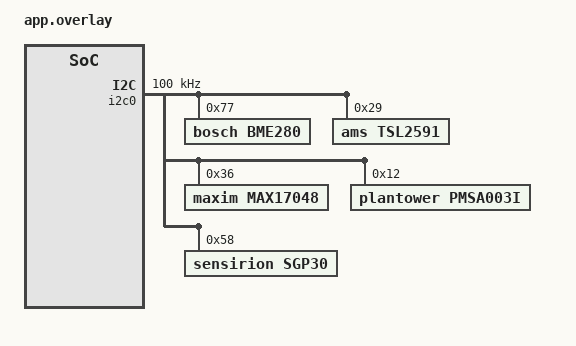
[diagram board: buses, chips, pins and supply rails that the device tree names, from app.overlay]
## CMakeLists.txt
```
# SPDX-License-Identifier: MIT
cmake_minimum_required(VERSION 3.20.0)

# This repo ships its own board (boards/adafruit/feather_esp32c6). Zephyr only
# looks under directories on BOARD_ROOT, and it does not add the application
# dir automatically — so register it here, before find_package(Zephyr).
list(APPEND BOARD_ROOT ${CMAKE_CURRENT_SOURCE_DIR})

find_package(Zephyr REQUIRED HINTS $ENV{ZEPHYR_BASE})
project(sensor_box LANGUAGES C)

target_sources(app PRIVATE src/main.c)
```

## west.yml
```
# West manifest for the sensor-box application (T3 "freestanding app" layout).
#
# This repo is the manifest repo. `west update` pulls Zephyr — and, via
# import, every module Zephyr itself needs — as sibling directories that are
# git-ignored here. Bump `revision` deliberately to move to a new Zephyr
# release; everything else follows from Zephyr's own manifest.
#
#   west init -l .
#   west update
#
manifest:
  version: "1.2"

  remotes:
    - name: upstream
      url-base: https://github.com/zephyrproject-rtos

  projects:
    - name: zephyr
      remote: upstream
      revision: v4.4.0
      # Pull in Zephyr's modules, but only the groups this app actually needs.
      import:
        name-allowlist:
          - cmsis                 # Cortex-M / RISC-V CMSIS headers
          - hal_espressif         # ESP32-C6 SoC HAL + Wi-Fi blobs
          - hal_nordic            # (harmless; some samples/bindings assume it)
          - lvgl                  # TFT UI
          - mcuboot               # bootloader (drop if not signing images)
          - nanopb
          - picolibc
          - segger                # RTT logging (optional but handy)
          - tinycrypt

  self:
    path: sensor-box
```

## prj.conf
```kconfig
# Application Kconfig — merged on top of the board's *_defconfig.

# Logging subsystem (LOG_INF / LOG_WRN / LOG_ERR), routed to the console.
CONFIG_LOG=y

# Print floating-point values with %f (sensor readings later).
CONFIG_CBPRINTF_FP_SUPPORT=y

# Main thread stack — bumped a little ahead of the sensor work to come.
CONFIG_MAIN_STACK_SIZE=4096

# I2C bus + sensor subsystem + drivers.
CONFIG_I2C=y
CONFIG_SENSOR=y
CONFIG_BME280=y
CONFIG_TSL2591=y

# Out-of-tree drivers (drivers/sensor/*).
CONFIG_PMSA003I=y
CONFIG_SGP30=y

# Fuel-gauge subsystem + the on-board MAX17048.
CONFIG_FUEL_GAUGE=y
CONFIG_MAX17048=y

# Fixed regulator driver — powers the STEMMA QT / I2C switch (IO20).
CONFIG_REGULATOR=y
CONFIG_REGULATOR_FIXED=y

# Interactive shell on the console, with I2C and sensor subcommands.
CONFIG_SHELL=y
CONFIG_I2C_SHELL=y
CONFIG_SENSOR_SHELL=y
```

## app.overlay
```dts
/*
 * Application devicetree overlay — devices on the STEMMA QT / Feather I2C bus.
 *
 * Zephyr picks up "app.overlay" from the application directory automatically
 * and merges it on top of the board devicetree. The board already sets i2c0
 * to "okay" with its pinctrl; here we just declare what's plugged into it.
 */

#include <zephyr/dt-bindings/i2c/i2c.h>

&i2c0 {
	/*
	 * Drop from the board default (Fast, 400 kHz) to Standard (100 kHz).
	 * Four devices daisy-chained on STEMMA QT cables add enough bus
	 * capacitance to cause intermittent -EFAULT at 400 kHz.
	 */
	clock-frequency = <I2C_BITRATE_STANDARD>;

	/* Adafruit BME280 breakout, default (secondary) address. */
	bme280: bme280@77 {
		compatible = "bosch,bme280";
		reg = <0x77>;
	};

	/* Adafruit TSL2591 high-dynamic-range light sensor. */
	tsl2591: tsl2591@29 {
		compatible = "ams,tsl2591";
		reg = <0x29>;
	};

	/* On-board MAX17048 LiPo fuel gauge (fuel-gauge API, not sensor API). */
	max17048: max17048@36 {
		compatible = "maxim,max17048";
		reg = <0x36>;
	};

	/* Adafruit PMSA003I particulate matter sensor (out-of-tree driver). */
	pmsa003i: pmsa003i@12 {
		compatible = "plantower,pmsa003i";
		reg = <0x12>;
	};

	/* Adafruit SGP30 eCO2 / TVOC sensor (out-of-tree driver). */
	sgp30: sgp30@58 {
		compatible = "sensirion,sgp30";
		reg = <0x58>;
	};
};
```

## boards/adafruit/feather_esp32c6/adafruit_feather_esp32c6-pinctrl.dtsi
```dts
/*
 * Copyright (c) 2026 Tim Boldt
 *
 * SPDX-License-Identifier: Apache-2.0
 *
 * Pin assignments taken from the Adafruit ESP32-C6 Feather pinout:
 *   https://learn.adafruit.com/adafruit-esp32-c6-feather/pinouts
 *
 *   STEMMA QT / I2C : SDA = IO19, SCL = IO18
 *   SPI header      : SCK = IO21, MOSI = IO22, MISO = IO23
 *   UART header     : TX  = IO16, RX   = IO17
 *
 * The ESP32-C6 routes every peripheral through the GPIO matrix, so these
 * SIGxx_GPIOyy macros just pick which pad each signal lands on.
 */

#include <zephyr/dt-bindings/pinctrl/esp-pinctrl-common.h>
#include <zephyr/dt-bindings/pinctrl/esp32c6-pinctrl.h>
#include <zephyr/dt-bindings/pinctrl/esp32c6-gpio-sigmap.h>

&pinctrl {
	uart1_default: uart1_default {
		group1 {
			pinmux = <UART1_TX_GPIO16>;
			output-high;
		};
		group2 {
			pinmux = <UART1_RX_GPIO17>;
			bias-pull-up;
		};
	};

	i2c0_default: i2c0_default {
		group1 {
			pinmux = <I2C0_SDA_GPIO19>,
				 <I2C0_SCL_GPIO18>;
			bias-pull-up;
			drive-open-drain;
			output-high;
		};
	};

	/*
	 * Chip-select is not muxed here: the TFT FeatherWing and the microSD
	 * slot each need their own GPIO CS (and the TFT a DC line), so the SPI
	 * controller node uses cs-gpios instead of a hardware CS pad.
	 */
	spim2_default: spim2_default {
		group1 {
			pinmux = <SPIM2_MISO_GPIO23>,
				 <SPIM2_SCLK_GPIO21>;
		};
		group2 {
			pinmux = <SPIM2_MOSI_GPIO22>;
			output-low;
		};
	};
};
```

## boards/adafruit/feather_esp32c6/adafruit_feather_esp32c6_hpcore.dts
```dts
/*
 * Copyright (c) 2026 Tim Boldt
 *
 * SPDX-License-Identifier: Apache-2.0
 */

/dts-v1/;

#include <espressif/esp32c6/esp32c6_wroom_n4.dtsi>
#include "adafruit_feather_esp32c6-pinctrl.dtsi"
#include "feather_connector.dtsi"
#include <zephyr/dt-bindings/input/input-event-codes.h>
#include <espressif/partitions_0x0_default.dtsi>

/ {
	model = "Adafruit Feather ESP32-C6 HP Core";
	compatible = "adafruit,feather-esp32c6", "espressif,esp32c6";

	chosen {
		zephyr,sram = &sramhp;
		/* Native USB-Serial/JTAG carries the console (plain USB-C cable). */
		zephyr,console = &usb_serial;
		zephyr,shell-uart = &usb_serial;
		zephyr,flash = &flash0;
		zephyr,code-partition = &slot0_partition;
		zephyr,ieee802154 = &ieee802154;
	};

	aliases {
		sw0 = &boot_button;
		led0 = &red_led;
		i2c-0 = &i2c0;
		watchdog0 = &wdt0;
	};

	leds {
		compatible = "gpio-leds";

		red_led: led_0 {
			gpios = <&gpio0 15 GPIO_ACTIVE_HIGH>;
			label = "Red LED (IO15)";
		};
	};

	gpio_keys {
		compatible = "gpio-keys";

		boot_button: button_0 {
			gpios = <&gpio0 9 (GPIO_PULL_UP | GPIO_ACTIVE_LOW)>;
			label = "BOOT / User button (IO9)";
			zephyr,code = <INPUT_KEY_0>;
		};
	};

	/*
	 * IO20 must be driven high to power the STEMMA QT connector and the
	 * on-board 5k SDA/SCL pull-ups (it also powers the NeoPixel). A fixed
	 * regulator with regulator-boot-on turns it on during init, before the
	 * I2C sensor drivers probe.
	 */
	i2c_pwr: regulator-i2c-pwr {
		compatible = "regulator-fixed";
		regulator-name = "i2c_pwr";
		enable-gpios = <&gpio0 20 GPIO_ACTIVE_HIGH>;
		regulator-boot-on;
		regulator-always-on;
	};
};

&usb_serial {
	status = "okay";
};

/* Feather header UART (TX=IO16 / RX=IO17). Not the console. */
&uart1 {
	status = "okay";
	current-speed = <115200>;
	pinctrl-0 = <&uart1_default>;
	pinctrl-names = "default";
};

&i2c0 {
	status = "okay";
	clock-frequency = <I2C_BITRATE_FAST>;
	pinctrl-0 = <&i2c0_default>;
	pinctrl-names = "default";
};

&spi2 {
	#address-cells = <1>;
	#size-cells = <0>;
	status = "okay";
	pinctrl-0 = <&spim2_default>;
	pinctrl-names = "default";
	/*
	 * The 2.4" TFT FeatherWing puts the ILI9341 and the microSD slot on
	 * this bus with separate GPIO chip-selects. Declare them in the
	 * application overlay, e.g.:
	 *   cs-gpios = <&gpio0 X GPIO_ACTIVE_LOW>,   // TFT_CS
	 *              <&gpio0 Y GPIO_ACTIVE_LOW>;   // SD_CS
	 */
};

&gpio0 {
	status = "okay";
};

&trng0 {
	status = "okay";
};

&wdt0 {
	status = "okay";
};

&wifi {
	status = "okay";
};

&ieee802154 {
	status = "okay";
};

&esp32_bt_hci {
	status = "okay";
};
```

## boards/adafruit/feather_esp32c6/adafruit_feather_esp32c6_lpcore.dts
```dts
/*
 * Copyright (c) 2026 Tim Boldt
 *
 * SPDX-License-Identifier: Apache-2.0
 */

/dts-v1/;

#include <espressif/esp32c6/esp32c6_lpcore_wroom_n4.dtsi>
#include <espressif/partitions_0x0_default.dtsi>

/ {
	model = "Adafruit Feather ESP32-C6 LP Core";
	compatible = "adafruit,feather-esp32c6", "espressif,esp32c6";

	chosen {
		zephyr,sram = &ulp_ram;
		zephyr,code-partition = &slot0_lpcore_partition;
	};
};
```

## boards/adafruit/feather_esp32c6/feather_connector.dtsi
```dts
/*
 * Copyright (c) 2026 Tim Boldt
 *
 * SPDX-License-Identifier: Apache-2.0
 *
 * Adafruit Feather header nexus for the ESP32-C6 Feather.
 *
 * CONFIRMED from https://learn.adafruit.com/adafruit-esp32-c6-feather/pinouts :
 *   SCK  = IO21   MOSI = IO22   MISO = IO23
 *   RX   = IO17   TX   = IO16
 *   SDA  = IO19   SCL  = IO18
 *   A2   = IO6    A3   = IO5    (A2 shares IO6, A3 shares IO5)
 *   IO9 shared by Boot button + on-board NeoPixel
 *   Other digital pads broken out: IO0, IO7, IO8, IO12, IO15
 *
 * TODO: A0, A1, A4, A5 and the D4/D5/D6/D10..D13 header positions are not
 * spelled out in the Adafruit text pinout. Fill the remaining gpio-map rows
 * from the PrettyPins diagram / schematic before relying on feather_header.
 * sensor-box itself only uses feather_i2c and feather_spi, which are complete.
 */

/ {
	feather_header: connector {
		compatible = "adafruit-feather-header";
		#gpio-cells = <2>;
		gpio-map-mask = <0xffffffff 0xffffffc0>;
		gpio-map-pass-thru = <0 0x3f>;
		gpio-map = <
			/*  0  A0 */	/* TODO */
			/*  1  A1 */	/* TODO */
			2 0 &gpio0 6 0		/* A2  */
			3 0 &gpio0 5 0		/* A3  */
			/*  4  A4 */	/* TODO */
			/*  5  A5 */	/* TODO */
			6 0 &gpio0 21 0		/* SCK  */
			7 0 &gpio0 22 0		/* MOSI */
			8 0 &gpio0 23 0		/* MISO */
			9 0 &gpio0 17 0		/* RX   */
			10 0 &gpio0 16 0	/* TX   */
			/* 11  D4 */	/* TODO */
			12 0 &gpio0 19 0	/* SDA  */
			13 0 &gpio0 18 0	/* SCL  */
			/* 14  D5 */	/* TODO */
			/* 15  D6 */	/* TODO */
			16 0 &gpio0 9 0		/* D9 (also Boot btn / NeoPixel) */
			/* 17  D10 */	/* TODO */
			/* 18  D11 */	/* TODO */
			/* 19  D12 */	/* TODO */
			/* 20  D13 */	/* TODO */
		>;
	};
};

feather_serial: &uart1 {};

feather_i2c: &i2c0 {};

feather_spi: &spi2 {};
```

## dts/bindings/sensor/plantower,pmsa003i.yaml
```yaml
# Copyright (c) 2026 Tim Boldt
# SPDX-License-Identifier: MIT

description: |
  Plantower PMSA003I laser particulate matter sensor (I2C interface).

  Reports PM1.0 / PM2.5 / PM10 mass concentration in ug/m^3 (both the
  CF=1 "standard particle" calibration and the atmospheric-environment
  calibration) plus particle counts per 0.1 L for six size bins.

compatible: "plantower,pmsa003i"

include: [sensor-device.yaml, i2c-device.yaml]
```

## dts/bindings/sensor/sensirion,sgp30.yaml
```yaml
# Copyright (c) 2026 Tim Boldt
# SPDX-License-Identifier: MIT

description: |
  Sensirion SGP30 indoor air quality sensor (eCO2 / TVOC).

  The driver drives the sensor at the datasheet-mandated 1 Hz cadence on
  its own and caches the latest reading; sensor_sample_fetch() is a no-op
  and sensor_channel_get() returns the cached eCO2 (SENSOR_CHAN_CO2, ppm)
  and TVOC (SENSOR_CHAN_VOC, ppb). Values are fixed at 400 ppm / 0 ppb for
  the first ~15 s after power-up while the sensor warms up.

compatible: "sensirion,sgp30"

include: [sensor-device.yaml, i2c-device.yaml]
```

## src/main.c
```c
/*
 * sensor-box firmware (Zephyr) — environmental monitor for the
 * Adafruit ESP32-C6 Feather.
 *
 * SPDX-License-Identifier: MIT
 *
 * Reads every sensor on the box each REPORT_EVERY_TICKS:
 *   - BME280   temp / humidity / pressure   (sensor API)
 *   - TSL2591  ambient light / IR           (sensor API)
 *   - PMSA003I PM1.0 / 2.5 / 10             (sensor API, out-of-tree)
 *   - SGP30    eCO2 / TVOC                  (sensor API, out-of-tree)
 *   - MAX17048 battery voltage / charge     (fuel-gauge API)
 * plus the 1 Hz heartbeat + LED blink. A missing device is logged and
 * skipped, never fatal. The BME280 temp/RH is fed to the SGP30 as
 * absolute humidity for its on-chip compensation.
 */

#include <math.h>

#include <zephyr/kernel.h>
#include <zephyr/device.h>
#include <zephyr/drivers/gpio.h>
#include <zephyr/drivers/sensor.h>
#include <zephyr/drivers/fuel_gauge.h>
#include <zephyr/logging/log.h>

#include <sensor_box/sgp30.h>

LOG_MODULE_REGISTER(sensor_box, LOG_LEVEL_INF);

/* How many 1 Hz ticks between full readings / report lines. */
#define REPORT_EVERY_TICKS 5U

/* led0 -> &red_led (gpio0 15, active high) from the board devicetree. */
static const struct gpio_dt_spec led = GPIO_DT_SPEC_GET(DT_ALIAS(led0), gpios);

/* I2C devices from app.overlay; *_OR_NULL keeps the build fine if removed. */
static const struct device *const bme280 = DEVICE_DT_GET_OR_NULL(DT_NODELABEL(bme280));
static const struct device *const tsl2591 = DEVICE_DT_GET_OR_NULL(DT_NODELABEL(tsl2591));
static const struct device *const max17048 = DEVICE_DT_GET_OR_NULL(DT_NODELABEL(max17048));
static const struct device *const pmsa003i = DEVICE_DT_GET_OR_NULL(DT_NODELABEL(pmsa003i));
static const struct device *const sgp30 = DEVICE_DT_GET_OR_NULL(DT_NODELABEL(sgp30));

/*
 * Absolute humidity in g/m^3 from temperature (degC) and relative humidity (%),
 * via the Magnus approximation of saturation vapour pressure.
 */
static double abs_humidity_g_m3(double t_c, double rh_pct)
{
	double sat_hpa = 6.112 * exp((17.62 * t_c) / (243.12 + t_c));
	double vp_hpa = (rh_pct / 100.0) * sat_hpa;

	return 216.7 * vp_hpa / (273.15 + t_c);
}

/* Push absolute humidity to the SGP30 for on-chip compensation. */
static void feed_sgp30_humidity(double temp_c, double rh_pct)
{
	if (sgp30 == NULL || !device_is_ready(sgp30)) {
		return;
	}

	struct sensor_value ah;

	sensor_value_from_double(&ah, abs_humidity_g_m3(temp_c, rh_pct));
	sensor_attr_set(sgp30, SENSOR_CHAN_ALL,
			(enum sensor_attribute)SENSOR_ATTR_SGP30_ABS_HUMIDITY, &ah);
}

static void report_bme280(void)
{
	if (bme280 == NULL || !device_is_ready(bme280)) {
		LOG_WRN("bme280: not ready, skipping");
		return;
	}

	if (sensor_sample_fetch(bme280) != 0) {
		LOG_WRN("bme280: sample fetch failed");
		return;
	}

	struct sensor_value temp, press, humidity;

	sensor_channel_get(bme280, SENSOR_CHAN_AMBIENT_TEMP, &temp);
	sensor_channel_get(bme280, SENSOR_CHAN_PRESS, &press);
	sensor_channel_get(bme280, SENSOR_CHAN_HUMIDITY, &humidity);

	/* Zephyr reports temp in degC, pressure in kPa, humidity in %RH. */
	double temp_c = sensor_value_to_double(&temp);
	double rh_pct = sensor_value_to_double(&humidity);

	LOG_INF("bme280:  %.2f C  %.2f %%RH  %.2f hPa  (AH %.2f g/m3)",
		temp_c, rh_pct, sensor_value_to_double(&press) * 10.0,
		abs_humidity_g_m3(temp_c, rh_pct));

	feed_sgp30_humidity(temp_c, rh_pct);
}

static void report_tsl2591(void)
{
	if (tsl2591 == NULL || !device_is_ready(tsl2591)) {
		LOG_WRN("tsl2591: not ready, skipping");
		return;
	}

	/* Fetch everything; SENSOR_CHAN_LIGHT is the lux approximation. */
	if (sensor_sample_fetch(tsl2591) != 0) {
		LOG_WRN("tsl2591: sample fetch failed");
		return;
	}

	struct sensor_value light, ir;

	sensor_channel_get(tsl2591, SENSOR_CHAN_LIGHT, &light);
	sensor_channel_get(tsl2591, SENSOR_CHAN_IR, &ir);

	LOG_INF("tsl2591: %.2f lux  (ir %.0f)",
		sensor_value_to_double(&light),
		sensor_value_to_double(&ir));
}

static void report_max17048(void)
{
	if (max17048 == NULL || !device_is_ready(max17048)) {
		LOG_WRN("max17048: not ready, skipping");
		return;
	}

	union fuel_gauge_prop_val v_uv, soc_pct;

	if (fuel_gauge_get_prop(max17048, FUEL_GAUGE_VOLTAGE, &v_uv) != 0 ||
	    fuel_gauge_get_prop(max17048, FUEL_GAUGE_RELATIVE_STATE_OF_CHARGE,
				&soc_pct) != 0) {
		LOG_WRN("max17048: read failed");
		return;
	}

	/* voltage is microvolts; relative_state_of_charge is whole percent. */
	LOG_INF("battery: %.3f V  %u%%",
		(double)v_uv.voltage / 1e6, soc_pct.relative_state_of_charge);
}

static void report_pmsa003i(void)
{
	if (pmsa003i == NULL || !device_is_ready(pmsa003i)) {
		LOG_WRN("pmsa003i: not ready, skipping");
		return;
	}

	if (sensor_sample_fetch(pmsa003i) != 0) {
		LOG_WRN("pmsa003i: sample fetch failed");
		return;
	}

	struct sensor_value pm1, pm25, pm10;

	sensor_channel_get(pmsa003i, SENSOR_CHAN_PM_1_0, &pm1);
	sensor_channel_get(pmsa003i, SENSOR_CHAN_PM_2_5, &pm25);
	sensor_channel_get(pmsa003i, SENSOR_CHAN_PM_10, &pm10);

	LOG_INF("pmsa003i: PM1.0 %d  PM2.5 %d  PM10 %d  ug/m3",
		pm1.val1, pm25.val1, pm10.val1);
}

static void report_sgp30(void)
{
	if (sgp30 == NULL || !device_is_ready(sgp30)) {
		LOG_WRN("sgp30: not ready, skipping");
		return;
	}

	int ret = sensor_sample_fetch(sgp30);

	if (ret == -EAGAIN) {
		LOG_INF("sgp30: warming up");
		return;
	}
	if (ret != 0) {
		LOG_WRN("sgp30: sample fetch failed: %d", ret);
		return;
	}

	struct sensor_value eco2, tvoc;

	sensor_channel_get(sgp30, SENSOR_CHAN_CO2, &eco2);
	sensor_channel_get(sgp30, SENSOR_CHAN_VOC, &tvoc);

	LOG_INF("sgp30:   eCO2 %d ppm  TVOC %d ppb", eco2.val1, tvoc.val1);
}

int main(void)
{
	LOG_INF("sensor-box starting on %s", CONFIG_BOARD_TARGET);

	if (!gpio_is_ready_dt(&led) ||
	    gpio_pin_configure_dt(&led, GPIO_OUTPUT_INACTIVE) != 0) {
		LOG_ERR("LED GPIO not available");
	}

	uint32_t tick = 0;

	while (1) {
		gpio_pin_toggle_dt(&led);

		if (tick % REPORT_EVERY_TICKS == 0) {
			LOG_INF("--- tick %u ---", tick);
			report_bme280();
			report_tsl2591();
			report_pmsa003i();
			report_sgp30();
			report_max17048();
		}

		tick++;
		k_sleep(K_SECONDS(1));
	}

	return 0;
}
```
